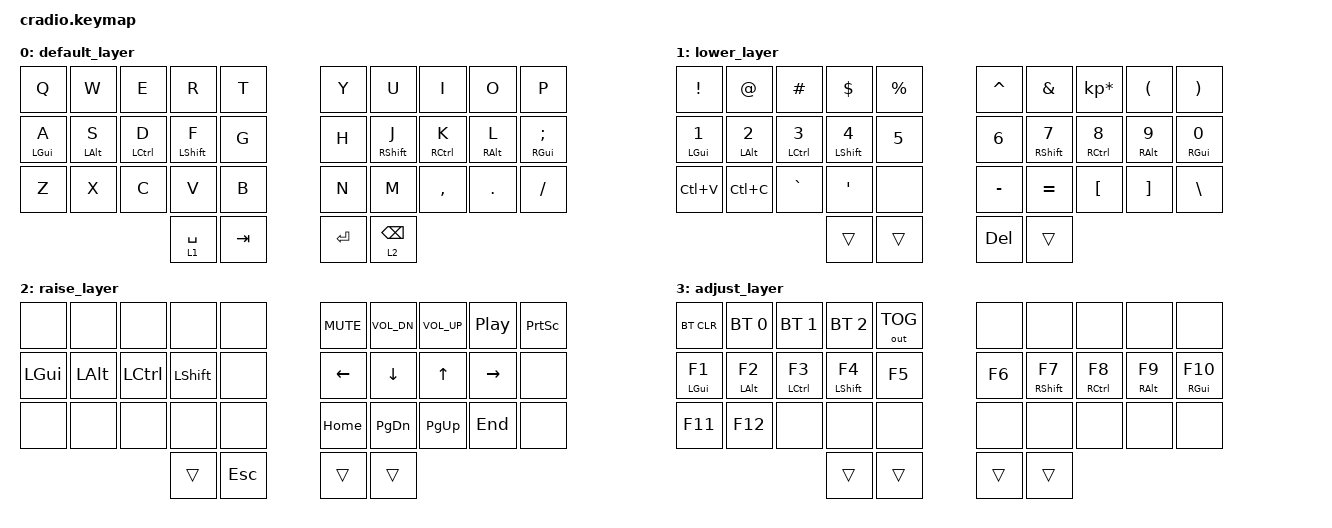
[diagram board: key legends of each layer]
/*
 * Copyright (c) 2020 The ZMK Contributors
 *
 * SPDX-License-Identifier: MIT
 */

#include <behaviors.dtsi>
#include <dt-bindings/zmk/keys.h>
#include <dt-bindings/zmk/bt.h>
#include <dt-bindings/zmk/outputs.h>

#define DEFAULT 0
#define LOWER   1
#define RAISE   2
#define ADJUST  3

&mt {
	flavor = "tap-preferred";
	tapping-term-ms = <200>;
	quick-tap-ms = <200>;
};

&lt {
	quick-tap-ms = <200>;
};

&caps_word {
	continue-list = <UNDERSCORE MINUS>;
};

/ {
    combos {
        compatible = "zmk,combos";
        combo_caps {
            timeout-ms = <50>;
            key-positions = <13 16>;
			layers = <0>;
            bindings = <&caps_word>;
        };
		combo_esc {
            timeout-ms = <50>;
            key-positions = <1 2>;
			layers = <1 2>;
            bindings = <&kp ESC>;
        };
    };
};

/ {

	conditional_layers {
		compatible = "zmk,conditional-layers";
		tri_layer {
			if-layers = <1 2>;
			then-layer = <3>;
		};
	};
	
	keymap {
		compatible = "zmk,keymap";

		default_layer {
			bindings = <
&kp Q      &kp W      &kp E        &kp R        &kp T    &kp Y   &kp U        &kp I       &kp O      &kp P        
&mt LGUI A &mt LALT S &mt LCTRL D  &mt LSHIFT F &kp G    &kp H   &mt RSHIFT J &mt RCTRL K &mt RALT L &mt RGUI SEMI
&kp Z      &kp X      &kp C        &kp V        &kp B    &kp N   &kp M        &kp COMMA   &kp DOT    &kp FSLH     
                                   &lt 1 SPACE  &kp TAB  &kp RET &lt 2 BSPC
			>;
		};

		lower_layer {
			bindings = <
&kp EXCL    &kp AT      &kp HASH     &kp DOLLAR    &kp PRCNT &kp CARET &kp AMPS      &kp KP_MULTIPLY &kp LPAR    &kp RPAR   
&mt LGUI N1 &mt LALT N2 &mt LCTRL N3 &mt LSHIFT N4 &kp N5    &kp N6    &mt RSHIFT N7 &mt RCTRL N8    &mt RALT N9 &mt RGUI N0
&kp LC(V)   &kp LC(C)   &kp GRAVE    &kp APOS      &none     &kp MINUS &kp EQUAL     &kp LBKT        &kp RBKT    &kp BSLH   
                                     &trans        &trans    &kp DEL   &trans
			>;
		};

		raise_layer {
			bindings = <
&none    &none    &none     &none      &none   &kp C_MUTE &kp C_VOL_DN &kp C_VOL_UP &kp C_PP  &kp PSCRN
&kp LGUI &kp LALT &kp LCTRL &kp LSHIFT &none   &kp LEFT   &kp DOWN     &kp UP       &kp RIGHT &none
&none    &none    &none     &none      &none   &kp HOME   &kp PG_DN    &kp PG_UP    &kp END   &none    
                            &trans     &kp ESC &trans     &trans
			>;
		};
		
		adjust_layer {
			bindings = <
&bt BT_CLR  &bt BT_SEL 0 &bt BT_SEL 1 &bt BT_SEL 2  &out OUT_TOG  &none  &none         &none        &none       &none        
&mt LGUI F1 &mt LALT F2  &mt LCTRL F3 &mt LSHIFT F4 &kp F5        &kp F6 &mt RSHIFT F7 &mt RCTRL F8 &mt RALT F9 &mt RGUI F10
&kp F11     &kp F12      &none        &none         &none         &none  &none         &none        &none       &none       
                                      &trans        &trans        &trans &trans
			>;
		};		
	};
};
